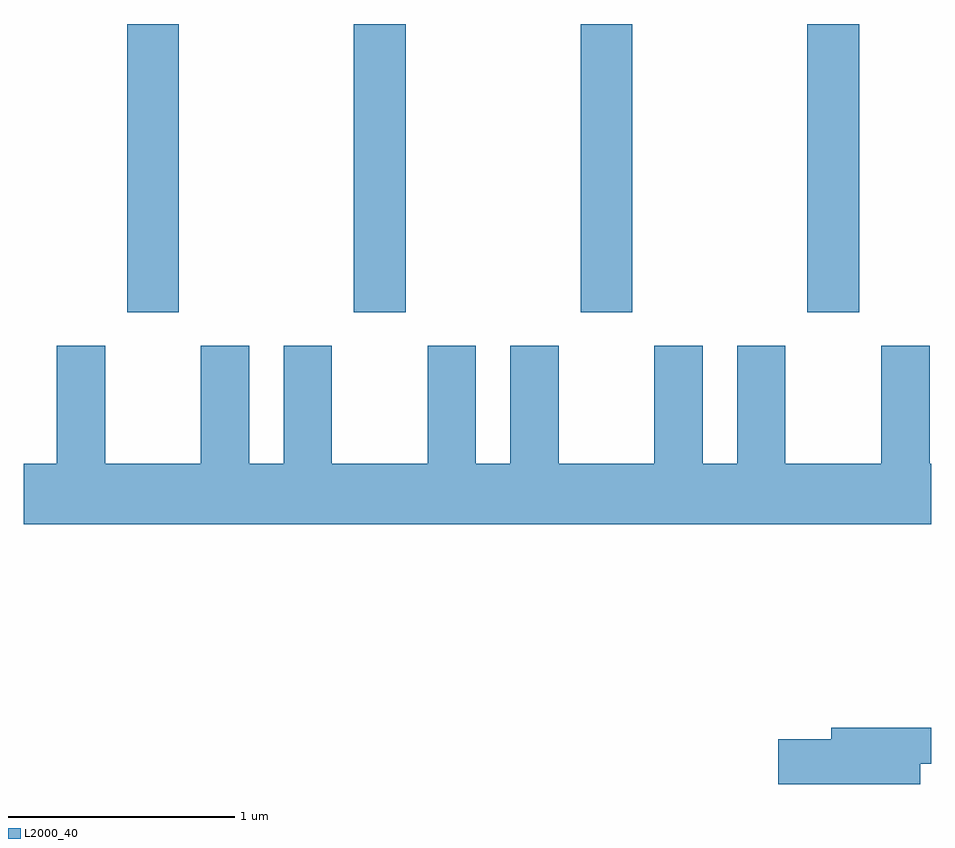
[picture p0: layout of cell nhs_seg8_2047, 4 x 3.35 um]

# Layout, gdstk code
import gdstk
lib = gdstk.Library(unit=1e-6, precision=1e-09)
def R(c, l, rs):  # rectangles x0, y0, x1, y1
    for r in rs: c.add(gdstk.rectangle(r[:2], r[2:], *l))
def A(c, l, x, y, w, h, nx, ny, dx, dy):  # array of equal rectangles
    R(c, l, [(x+i*dx, y+j*dy, x+i*dx+w, y+j*dy+h) for i in range(nx) for j in range(ny)])
def P(c, l, *ps):  # polygons
    for p in ps: c.add(gdstk.Polygon(p, *l))
L2000_40 = (2000, 40)

nhs_seg8_2047 = lib.new_cell('nhs_seg8_2047')
A(nhs_seg8_2047, L2000_40, 246.066, 1895.071, 0.228, 1.271, 4, 1, 1, 0)
P(nhs_seg8_2047, L2000_40, [(249.611,1894.404),(249.604,1894.404),(249.604,1894.924),(249.391,1894.924),(249.391,1894.404),(248.969,1894.404),(248.969,1894.924),(248.756,1894.924),(248.756,1894.404),(248.604,1894.404),(248.604,1894.924),(248.391,1894.924),(248.391,1894.404),(247.969,1894.404),(247.969,1894.924),(247.756,1894.924),(247.756,1894.404),(247.604,1894.404),(247.604,1894.924),(247.391,1894.924),(247.391,1894.404),(246.969,1894.404),(246.969,1894.924),(246.756,1894.924),(246.756,1894.404),(246.604,1894.404),(246.604,1894.924),(246.391,1894.924),(246.391,1894.404),(245.969,1894.404),(245.969,1894.924),(245.756,1894.924),(245.756,1894.404),(245.611,1894.404),(245.611,1894.136),(249.611,1894.136)],
  [(249.564,1893.081),(249.611,1893.081),(249.611,1893.239),(249.171,1893.239),(249.171,1893.189),(248.936,1893.189),(248.936,1892.991),(249.564,1892.991)])

lib.write_gds('nhs_seg8_2047.gds')
